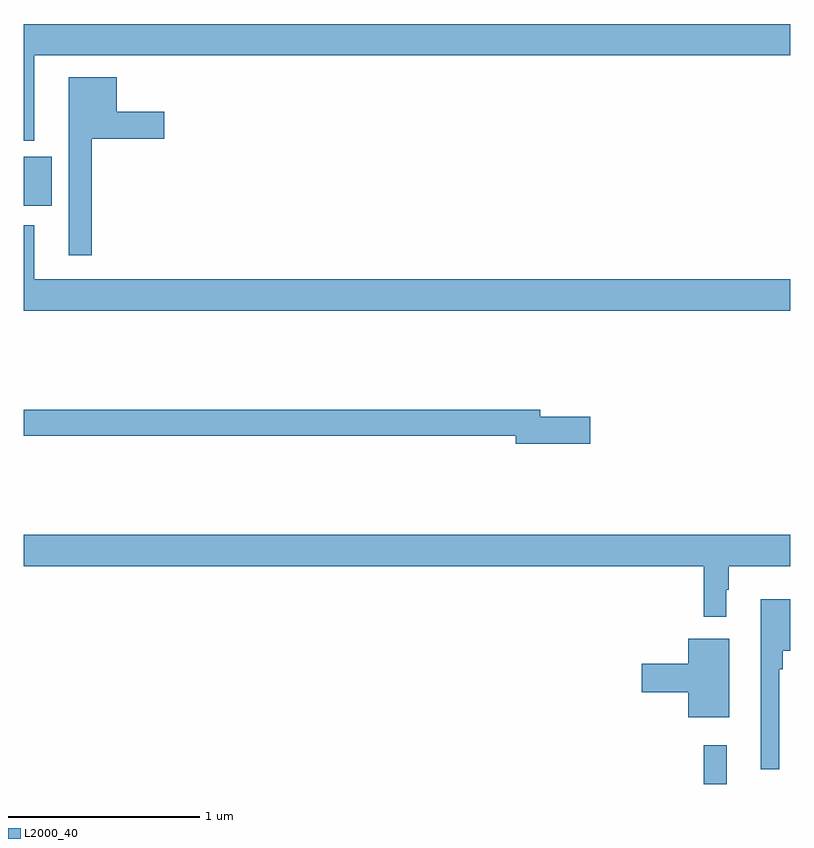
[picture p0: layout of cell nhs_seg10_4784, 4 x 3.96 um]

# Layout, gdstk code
import gdstk
lib = gdstk.Library(unit=1e-6, precision=1e-09)
def R(c, l, rs):  # rectangles x0, y0, x1, y1
    for r in rs: c.add(gdstk.rectangle(r[:2], r[2:], *l))
def P(c, l, *ps):  # polygons
    for p in ps: c.add(gdstk.Polygon(p, *l))
L2000_40 = (2000, 40)

nhs_seg10_4784 = lib.new_cell('nhs_seg10_4784')
R(nhs_seg10_4784, L2000_40, [(388.549,1312.5,388.667,1312.702), (385,1315.517,385.147,1315.771)])
P(nhs_seg10_4784, L2000_40, [(385.057,1316.3),(389,1316.3),(389,1316.464),(385,1316.464),(385,1315.856),(385.057,1315.856)],
  [(385.357,1315.865),(385.735,1315.865),(385.735,1316.007),(385.486,1316.007),(385.486,1316.185),(385.235,1316.185),(385.235,1315.257),(385.357,1315.257)],
  [(389,1315.132),(385.057,1315.132),(385.057,1315.414),(385,1315.414),(385,1314.968),(389,1314.968)],
  [(387.955,1314.416),(387.694,1314.416),(387.694,1314.452),(385,1314.452),(385,1314.316),(387.566,1314.316),(387.566,1314.274),(387.955,1314.274)],
  [(388.666,1313.513),(388.678,1313.513),(388.678,1313.636),(389,1313.636),(389,1313.8),(385,1313.8),(385,1313.636),(388.549,1313.636),(388.549,1313.373),(388.666,1313.373)],
  [(388.941,1313.099),(388.961,1313.099),(388.961,1313.195),(389,1313.195),(389,1313.464),(388.844,1313.464),(388.844,1312.578),(388.941,1312.578)],
  [(388.681,1313.257),(388.466,1313.257),(388.466,1313.126),(388.224,1313.126),(388.224,1312.979),(388.466,1312.979),(388.466,1312.847),(388.681,1312.847)])

lib.write_gds('nhs_seg10_4784.gds')
